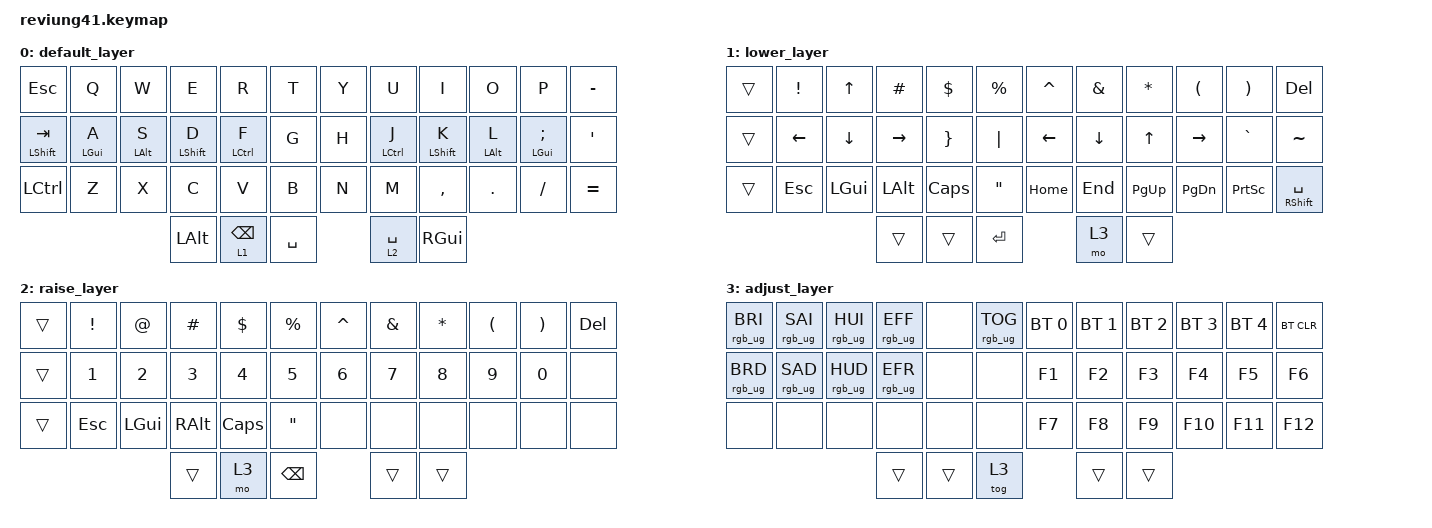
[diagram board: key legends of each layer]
/*
 * Copyright (c) 2020 The ZMK Contributors
 *
 * SPDX-License-Identifier: MIT
 */

#include <behaviors.dtsi>
#include <dt-bindings/zmk/bt.h>
#include <dt-bindings/zmk/keys.h>
#include <dt-bindings/zmk/rgb.h>

&mt { flavor = "tap-preferred"; };

/ {
    combos {
        compatible = "zmk,combos";

        combo_lp {
            bindings = <&kp TAB>;
            key-positions = <15 16>;
        };

        combo_rp {
            bindings = <&kp ENTER>;
            key-positions = <19 20>;
        };

        esc {
            bindings = <&kp ESCAPE>;
            key-positions = <14 15>;
        };

        bksp {
            bindings = <&kp BACKSPACE>;
            key-positions = <20 21>;
        };
    };

    keymap {
        compatible = "zmk,keymap";

        default_layer {
            // -------------------------------------------------------------------------------------
            // |  TAB |  Q  |  W  |  E  |  R  |  T  |   |  Y  |  U   |  I  |  O  |  P  |   BSPC    |
            // | CTRL |  A  |  S  |  D  |  F  |  G  |   |  H  |  J   |  K  |  L  |  ;  |    '      |
            // | SHFT |  Z  |  X  |  C  |  V  |  B  |   |  N  |  M   |  ,  |  .  |  /  | SHFT(RET) |
            //                         | ALT | LWR | SPC | RSE  | ALT |

            bindings = <
&kp ESCAPE          &kp Q           &kp W           &kp E         &kp R            &kp T             &kp Y  &kp U        &kp I         &kp O           &kp P               &kp MINUS
&mt LEFT_SHIFT TAB  &mt LEFT_GUI A  &mt LEFT_ALT S  &mt LSHIFT D  &mt LCTRL F      &kp G             &kp H  &mt LCTRL J  &mt LSHIFT K  &mt LEFT_ALT L  &mt LGUI SEMICOLON  &kp SINGLE_QUOTE
&kp LCTRL           &kp Z           &kp X           &kp C         &kp V            &kp B             &kp N  &kp M        &kp COMMA     &kp DOT         &kp FSLH            &kp EQUAL
                                                    &kp LALT      &lt 1 BACKSPACE         &kp SPACE         &lt 2 SPACE  &kp RGUI
            >;
        };

        lower_layer {
            // ------------------------------------------------------------------------------------
            // |    |  !  |  @  |  #  |  $  |  %  |   |  ^  |  &  |  *  |  (  |  )  |      DEL    |
            // |    |  _  |  +  |  {  |  }  | "|" |   | LFT | DWN |  UP | RGT |  `  |       ~     |
            // |    | ESC | GUI | ALT | CAPS|  "  |   | HOME| END | PGUP| PGDN| PRSC| SHFT(SPACE) |
            //                       |     |     | RET | ADJ |     |

            bindings = <
&trans  &kp EXCL        &kp UP_ARROW  &kp HASH   &kp DLLR  &kp PRCNT           &kp CARET  &kp AMPS  &kp ASTRK  &kp LPAR   &kp RPAR   &kp DEL
&trans  &kp LEFT_ARROW  &kp DOWN      &kp RIGHT  &kp RBRC  &kp PIPE            &kp LEFT   &kp DOWN  &kp UP     &kp RIGHT  &kp GRAVE  &kp TILDE
&trans  &kp ESC         &kp LGUI      &kp LALT   &kp CLCK  &kp DQT             &kp HOME   &kp END   &kp PG_UP  &kp PG_DN  &kp PSCRN  &mt RSHFT SPACE
                                      &trans     &trans               &kp RET             &mo 3     &trans
            >;
        };

        raise_layer {
            // ----------------------------------------------------------------------------
            // |    |  1  |  2  |  3  |  4  |  5  |   |  6  |  7  |  8  |  9  |  0  | DEL |
            // |    |  -  |  =  |  [  |  ]  |  \  |   | F1  | F2  | F3  | F4  | F5  | F6  |
            // |    | ESC | GUI | ALT | CAPS|  "  |   | F7  | F8  | F9  | F10 | F11 | F12 |
            //                       |     | ADJ | BSPC |    |     |

            bindings = <
&trans  &kp EXCL      &kp AT        &kp HASH      &kp DLLR      &kp PRCNT               &kp CARET     &kp AMPS      &kp STAR      &kp LPAR      &kp RPAR      &kp DEL
&trans  &kp NUMBER_1  &kp NUMBER_2  &kp NUMBER_3  &kp NUMBER_4  &kp NUMBER_5            &kp NUMBER_6  &kp NUMBER_7  &kp NUMBER_8  &kp NUMBER_9  &kp NUMBER_0  &none
&trans  &kp ESC       &kp LGUI      &kp RALT      &kp CLCK      &kp DQT                 &none         &none         &none         &none         &none         &none
                                    &trans        &mo 3                       &kp BSPC                &trans        &trans
            >;
        };

        adjust_layer {
            // -----------------------------------------------------------------------------------------
            // | RGB BRI+ | RGB SAT+ | RGB HUE+ | RGB ANI+ |    | RGB TOG |   |  BT1  | BT2 | BT3 | BT4 | BT5 | BT CLR |
            // | RGB BRI- | RGB SAT- | RGB HUE- | RGB ANI- |    |         |   |       |     |     |     |     |        |
            // |          |          |          |          |    |         |   | RESET |     |     |     |     |        |
            //                                              |     |     |     |     |     |

            bindings = <
&rgb_ug RGB_BRI  &rgb_ug RGB_SAI  &rgb_ug RGB_HUI  &rgb_ug RGB_EFF  &none   &rgb_ug RGB_TOG          &bt BT_SEL 0  &bt BT_SEL 1  &bt BT_SEL 2  &bt BT_SEL 3  &bt BT_SEL 4  &bt BT_CLR
&rgb_ug RGB_BRD  &rgb_ug RGB_SAD  &rgb_ug RGB_HUD  &rgb_ug RGB_EFR  &none   &none                    &kp F1        &kp F2        &kp F3        &kp F4        &kp F5        &kp F6
&none            &none            &none            &none            &none   &none                    &kp F7        &kp F8        &kp F9        &kp F10       &kp F11       &kp F12
                                                   &trans           &trans                   &tog 3                &trans        &trans
            >;
        };
    };
};
